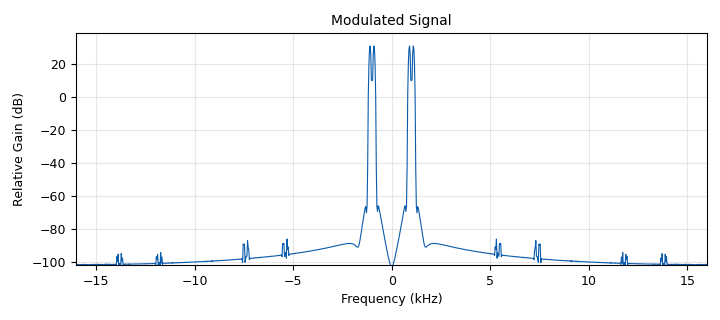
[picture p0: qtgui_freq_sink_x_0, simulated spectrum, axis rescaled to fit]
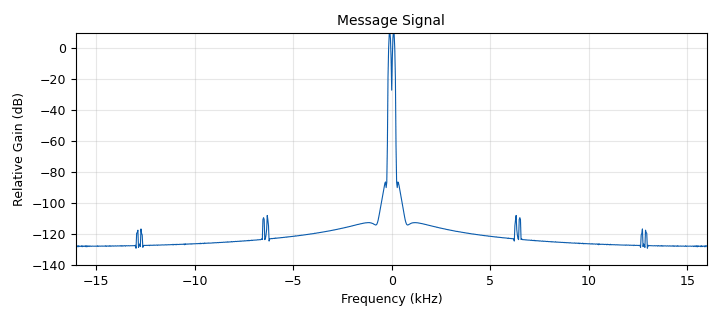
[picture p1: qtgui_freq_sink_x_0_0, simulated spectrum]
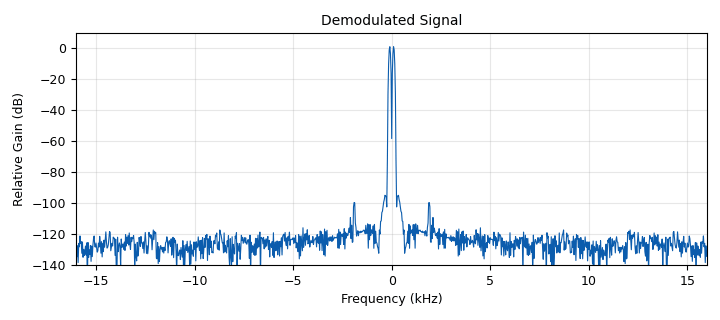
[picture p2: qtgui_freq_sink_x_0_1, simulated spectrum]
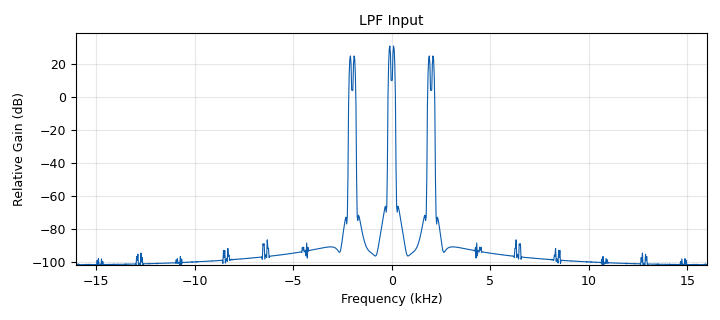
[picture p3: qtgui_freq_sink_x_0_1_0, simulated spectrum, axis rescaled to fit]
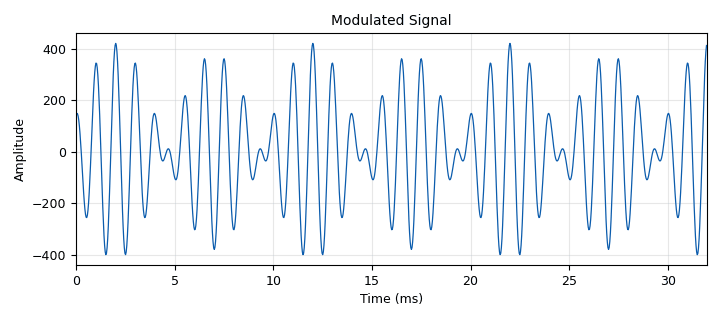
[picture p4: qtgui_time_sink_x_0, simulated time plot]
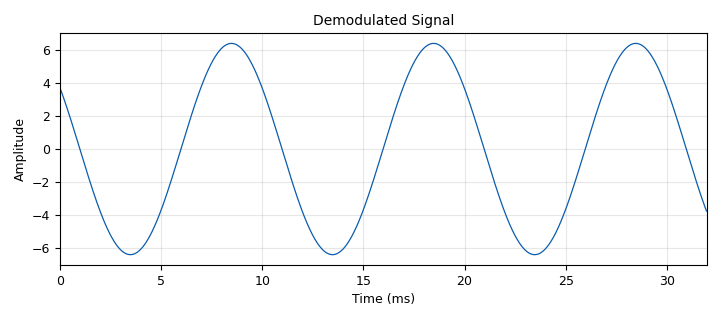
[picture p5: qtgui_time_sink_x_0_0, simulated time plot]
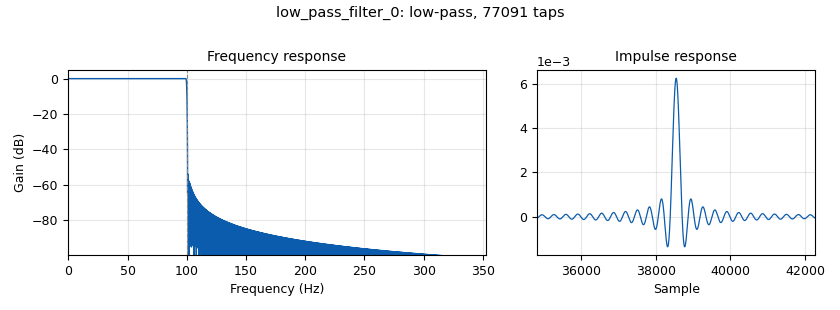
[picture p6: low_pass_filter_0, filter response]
options:
  parameters:
    generate_options: qt_gui
    id: dsb_fc
    output_language: python
    title: DSB-FC
  states: {}

blocks:
- name: carrier_amp
  id: variable
  parameters:
    value: msg_amp/mu
  states: {}
- name: msg_amp
  id: variable
  parameters:
    value: '20.0'
  states: {}
- name: mu
  id: variable
  parameters:
    value: '1'
  states: {}
- name: samp_rate
  id: variable
  parameters:
    value: '32000'
  states: {}
- name: analog_const_source_x_0
  id: analog_const_source_x
  parameters:
    const: '1'
    type: float
  states: {}
- name: analog_const_source_x_1
  id: analog_const_source_x
  parameters:
    const: mu
    type: float
  states: {}
- name: blocks_add_xx_0
  id: blocks_add_xx
  parameters:
    type: float
  states: {}
- name: blocks_multiply_xx_0
  id: blocks_multiply_xx
  parameters:
    type: float
  states: {}
- name: blocks_multiply_xx_1
  id: blocks_multiply_xx
  parameters:
    type: float
  states: {}
- name: blocks_multiply_xx_2
  id: blocks_multiply_xx
  parameters:
    type: float
  states: {}
- name: blocks_throttle_0
  id: blocks_throttle
  parameters:
    samples_per_second: samp_rate
    type: float
  states: {}
- name: carrierSignal
  id: analog_sig_source_x
  parameters:
    amp: carrier_amp
    freq: '1000'
    offset: '0'
    phase: '0'
    samp_rate: samp_rate
    type: float
    waveform: analog.GR_COS_WAVE
  states: {}
- name: carrierSignal_0
  id: analog_sig_source_x
  parameters:
    amp: '1'
    freq: '1000'
    offset: '0'
    phase: '0'
    samp_rate: samp_rate
    type: float
    waveform: analog.GR_COS_WAVE
  states: {}
- name: dc_blocker_xx_0
  id: dc_blocker_xx
  parameters:
    length: '32'
    long_form: 'True'
    type: ff
  states: {}
- name: low_pass_filter_0
  id: low_pass_filter
  parameters:
    cutoff_freq: '100'
    decim: '1'
    gain: '1'
    samp_rate: samp_rate
    type: fir_filter_fff
    width: '1'
    win: firdes.WIN_HAMMING
  states: {}
- name: messageSignal
  id: analog_sig_source_x
  parameters:
    amp: msg_amp
    freq: '100'
    offset: '0'
    phase: '0'
    samp_rate: samp_rate
    type: float
    waveform: analog.GR_COS_WAVE
  states: {}
- name: qtgui_freq_sink_x_0
  id: qtgui_freq_sink_x
  parameters:
    bw: samp_rate
    ctrlpanel: 'True'
    fc: '0'
    fftsize: '1024'
    name: '"Modulated Signal"'
    showports: 'True'
    type: float
    wintype: firdes.WIN_BLACKMAN_hARRIS
  states: {}
- name: qtgui_freq_sink_x_0_0
  id: qtgui_freq_sink_x
  parameters:
    bw: samp_rate
    ctrlpanel: 'True'
    fc: '0'
    fftsize: '1024'
    name: '"Message Signal"'
    showports: 'True'
    type: float
    wintype: firdes.WIN_BLACKMAN_hARRIS
  states: {}
- name: qtgui_freq_sink_x_0_1
  id: qtgui_freq_sink_x
  parameters:
    bw: samp_rate
    ctrlpanel: 'True'
    fc: '0'
    fftsize: '1024'
    name: '"Demodulated Signal"'
    showports: 'True'
    type: float
    wintype: firdes.WIN_BLACKMAN_hARRIS
  states: {}
- name: qtgui_freq_sink_x_0_1_0
  id: qtgui_freq_sink_x
  parameters:
    bw: samp_rate
    ctrlpanel: 'True'
    fc: '0'
    fftsize: '1024'
    name: '"LPF Input"'
    showports: 'True'
    type: float
    wintype: firdes.WIN_BLACKMAN_hARRIS
  states: {}
- name: qtgui_time_sink_x_0
  id: qtgui_time_sink_x
  parameters:
    autoscale: 'True'
    ctrlpanel: 'True'
    grid: 'True'
    label1: ''
    name: '"Modulated Signal"'
    size: '1024'
    srate: samp_rate
    type: float
  states: {}
- name: qtgui_time_sink_x_0_0
  id: qtgui_time_sink_x
  parameters:
    autoscale: 'True'
    ctrlpanel: 'True'
    grid: 'True'
    label1: ''
    name: '"Demodulated Signal"'
    size: '1024'
    srate: samp_rate
    type: float
  states: {}
- name: qtgui_time_sink_x_0_1
  id: qtgui_time_sink_x
  parameters:
    autoscale: 'True'
    ctrlpanel: 'True'
    grid: 'True'
    label1: ''
    name: '"Message Signal"'
    size: '1024'
    srate: samp_rate
    type: float
  states: {}

connections:
- [analog_const_source_x_0, '0', blocks_add_xx_0, '0']
- [analog_const_source_x_1, '0', blocks_multiply_xx_0, '0']
- [blocks_add_xx_0, '0', blocks_multiply_xx_1, '0']
- [blocks_multiply_xx_0, '0', blocks_add_xx_0, '1']
- [blocks_multiply_xx_1, '0', blocks_throttle_0, '0']
- [blocks_multiply_xx_2, '0', low_pass_filter_0, '0']
- [blocks_multiply_xx_2, '0', qtgui_freq_sink_x_0_1_0, '0']
- [blocks_throttle_0, '0', blocks_multiply_xx_2, '0']
- [blocks_throttle_0, '0', qtgui_freq_sink_x_0, '0']
- [blocks_throttle_0, '0', qtgui_time_sink_x_0, '0']
- [carrierSignal, '0', blocks_multiply_xx_1, '1']
- [carrierSignal_0, '0', blocks_multiply_xx_2, '1']
- [dc_blocker_xx_0, '0', qtgui_freq_sink_x_0_1, '0']
- [dc_blocker_xx_0, '0', qtgui_time_sink_x_0_0, '0']
- [low_pass_filter_0, '0', dc_blocker_xx_0, '0']
- [messageSignal, '0', blocks_multiply_xx_0, '1']
- [messageSignal, '0', qtgui_freq_sink_x_0_0, '0']
- [messageSignal, '0', qtgui_time_sink_x_0_1, '0']

metadata:
  file_format: 1
